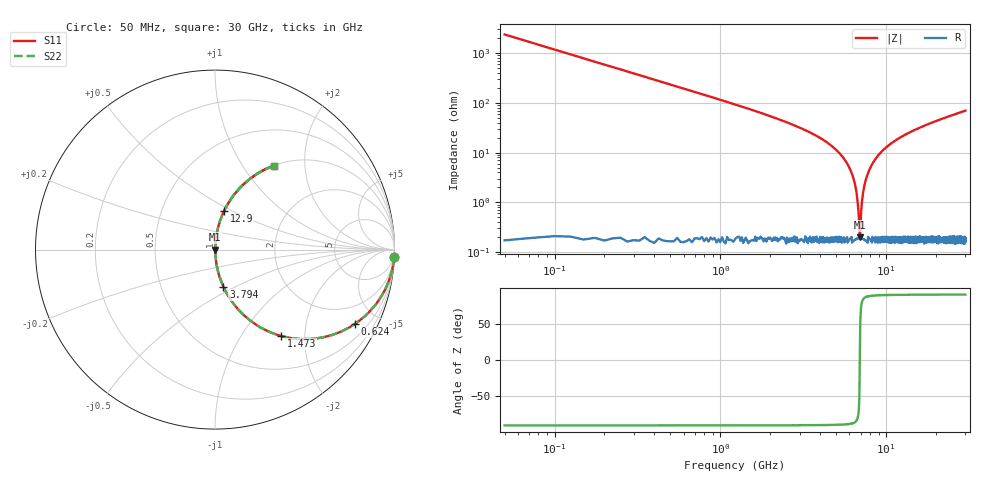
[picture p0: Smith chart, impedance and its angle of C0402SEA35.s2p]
!	AVX Thin Film Operation 	Date: April 2014
!	Description: Accu-P® Series, Thin Film  SMD RF Capacitor
!	Part Number: 04021JA35ZBSTR
# MHZ S MA R 50
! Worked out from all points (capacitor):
!   1201 points, 50 MHz to 30 GHz, reference 50 ohm
!   read as one part in series: C = 1.35 pF near 199.8 MHz
!   lowest |Z| = 197 mohm at 6.939 GHz (marker M1)
!   series resonance near 6.927 GHz, so ESL is about 390 pH
!   S11 on the Smith chart (normalised r, x): 50 MHz: 1, -47; 624 MHz: 1.00, -3.75; 1.473 GHz: 1.00, -1.53; 3.794 GHz: 1.00, -0.43; 12.9 GHz: 1.00, +0.45; 30 GHz: 1.00, +1.40
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50  0.999 -2.4  0.042 87.6  0.042 87.6  0.999 -2.4
299.583  0.969 -14.3  0.247 75.7  0.247 75.7  0.969 -14.3
624.042  0.882 -28.1  0.471 61.9  0.471 61.9  0.882 -28.1
1472.625  0.607 -52.5  0.794 37.3  0.794 37.3  0.607 -52.5
2396.083  0.397 -66.4  0.916 23.4  0.916 23.4  0.397 -66.4
3793.75  0.212 -77.3  0.975 12.3  0.975 12.3  0.212 -77.3
5041.667  0.109 -82.8  0.992 6.3  0.992 6.3  0.109 -82.8
6314.542  0.032 -85.0  0.998 1.8  0.998 1.8  0.032 -85.0
6589.083  0.017 -83.1  0.998 1.0  0.998 1.0  0.017 -83.1
6838.667  0.004723 -67.6  0.998 0.3  0.998 0.3  0.004723 -67.6
6938.5  0.00186 17.1  0.998 -0.0  0.998 -0.0  0.00186 17.1
7038.333  0.005687 71.5  0.998 -0.3  0.998 -0.3  0.005687 71.5
7163.125  0.012 80.5  0.998 -0.7  0.998 -0.7  0.012 80.5
7312.875  0.018 83.4  0.998 -1.1  0.998 -1.1  0.018 83.4
7787.083  0.04 85.2  0.997 -2.3  0.997 -2.3  0.04 85.2
8685.583  0.077 84.3  0.995 -4.4  0.995 -4.4  0.077 84.3
10058.29  0.129 81.8  0.99 -7.4  0.99 -7.4  0.129 81.8
12903.54  0.22 76.9  0.974 -12.7  0.974 -12.7  0.22 76.9
15025  0.279 73.5  0.959 -16.2  0.959 -16.2  0.279 73.5
20016.67  0.397 66.4  0.916 -23.4  0.916 -23.4  0.397 66.4
25033.29  0.493 60.3  0.868 -29.5  0.868 -29.5  0.493 60.3
30000  0.572 55.0  0.819 -34.9  0.819 -34.9  0.572 55.0
